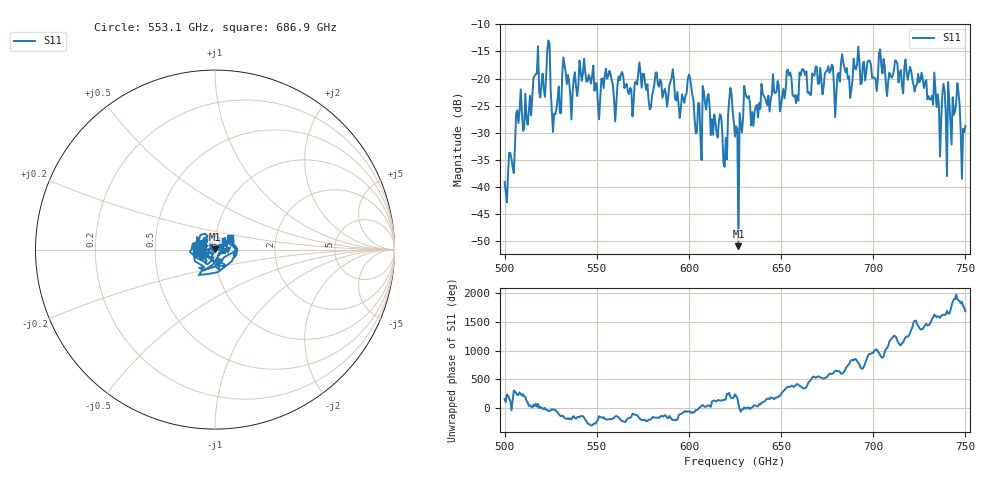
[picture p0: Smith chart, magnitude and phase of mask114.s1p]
!Created with skrf (http://scikit-rf.org).
# GHz S MA R 50.0
!freq magS11 angS11
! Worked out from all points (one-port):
!   401 points, 500 GHz to 750 GHz, reference 50 ohm
!   lowest |S11| = -51.0 dB at 626.9 GHz (marker M1), VSWR 1.01, Z = 50.1 + j0.263 ohm
!   |S11| at or under -10 dB: start of sweep to end of sweep
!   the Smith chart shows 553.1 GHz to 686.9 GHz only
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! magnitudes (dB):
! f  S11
! 500 GHz  -39.1
! 507.5 GHz  -28.2
! 513.1 GHz  -26.2
! 516.9 GHz  -19.2
! 520.6 GHz  -19.1
! 523.8 GHz  -13.0
! 526.9 GHz  -26.5
! 531.2 GHz  -19.4
! 562.5 GHz  -20.3
! 579.4 GHz  -25.3
! 590.6 GHz  -19.9
! 593.8 GHz  -22.5
! 600.6 GHz  -19.9
! 605.6 GHz  -24.6
! 608.8 GHz  -24.6
! 619.4 GHz  -36.3
! 622.5 GHz  -21.7
! 625 GHz  -30.7
! 626.9 GHz  -51.0
! 631.2 GHz  -23.4
! 635 GHz  -28.7
! 656.2 GHz  -23.1
! 680 GHz  -22.6
! 683.8 GHz  -17.0
! 687.5 GHz  -23.6
! 690.6 GHz  -18.3
! 718.8 GHz  -20.2
! 750 GHz  -28.8
